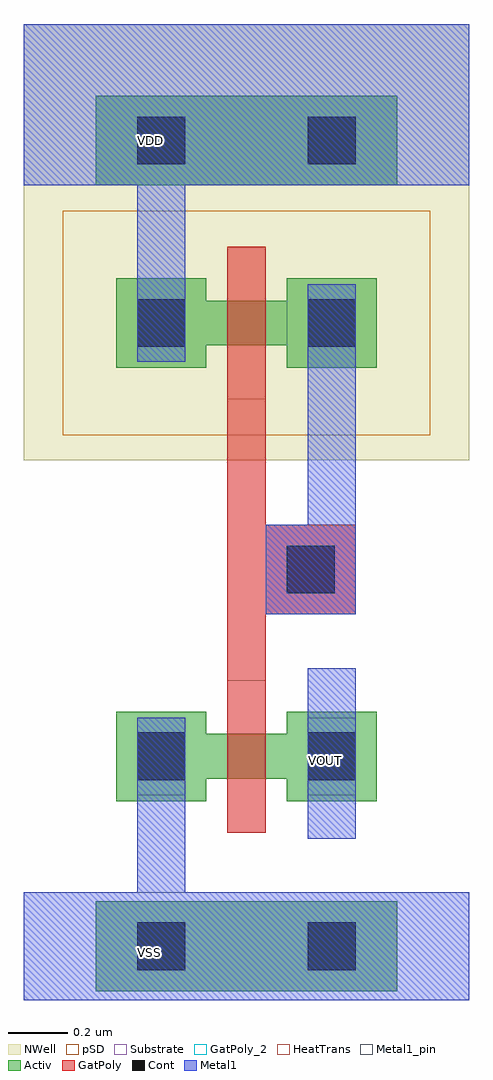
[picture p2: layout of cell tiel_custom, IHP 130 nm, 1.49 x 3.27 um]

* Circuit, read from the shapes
.subckt tiel_custom VDD VOUT VSS
XM1 VOUT n1 VSS VSS sg13_lv_nmos w=0.15u l=0.13u
XM2 n1 n1 VDD VDD sg13_lv_pmos w=0.15u l=0.13u
.ends

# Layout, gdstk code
import gdstk
lib = gdstk.Library(unit=1e-6, precision=5e-09)
def R(c, l, rs):  # rectangles x0, y0, x1, y1
    for r in rs: c.add(gdstk.rectangle(r[:2], r[2:], *l))
Activ = (1, 0)
GatPoly = (5, 0)
GatPoly_2 = (5, 2)
Cont = (6, 0)
Metal1 = (8, 0)
Metal1_pin = (8, 2)
pSD = (14, 0)
NWell = (31, 0)
Substrate = (40, 0)
HeatTrans = (51, 0)

nmos_4 = lib.new_cell('nmos$4')
R(nmos_4, Activ, [(0,0,0.3,0.3), (0.57,0,0.87,0.3), (0,0.075,0.87,0.225)])
R(nmos_4, GatPoly, [(0.37,-0.105,0.5,0.405)])
R(nmos_4, GatPoly_2, [(0.37,-0.105,0.5,0.405)])
R(nmos_4, Cont, [(0.07,0.07,0.23,0.23), (0.64,0.07,0.8,0.23)])
R(nmos_4, Metal1, [(0.07,0.02,0.23,0.28), (0.64,0.02,0.8,0.28)])
R(nmos_4, Metal1_pin, [(0.07,0.02,0.23,0.28), (0.64,0.02,0.8,0.28)])
R(nmos_4, HeatTrans, [(0.37,-0.105,0.5,0.405)])
nmos_4.add(gdstk.Label('nmos', (0.435,0.15), layer=63, texttype=0))
nmos_4.add(gdstk.Label('nmos', (0.435,0.15), layer=51, texttype=0))

nmos_8 = lib.new_cell('nmos$8')
R(nmos_8, Activ, [(0,0,0.3,0.3), (0.57,0,0.87,0.3), (0,0.075,0.87,0.225)])
R(nmos_8, GatPoly, [(0.37,-0.105,0.5,0.405)])
R(nmos_8, GatPoly_2, [(0.37,-0.105,0.5,0.405)])
R(nmos_8, Cont, [(0.07,0.07,0.23,0.23), (0.64,0.07,0.8,0.23)])
R(nmos_8, Metal1, [(0.07,0.02,0.23,0.28), (0.64,0.02,0.8,0.28)])
R(nmos_8, Metal1_pin, [(0.07,0.02,0.23,0.28), (0.64,0.02,0.8,0.28)])
R(nmos_8, HeatTrans, [(0.37,-0.105,0.5,0.405)])
nmos_8.add(gdstk.Label('nmos', (0.435,0.15), layer=63, texttype=0))
nmos_8.add(gdstk.Label('nmos', (0.435,0.15), layer=51, texttype=0))

nmos_4_4 = lib.new_cell('nmos$4$4')
R(nmos_4_4, Activ, [(0,0,0.3,0.3), (0.57,0,0.87,0.3), (0,0.075,0.87,0.225)])
R(nmos_4_4, GatPoly, [(0.37,-0.105,0.5,0.405)])
R(nmos_4_4, GatPoly_2, [(0.37,-0.105,0.5,0.405)])
R(nmos_4_4, Cont, [(0.07,0.07,0.23,0.23), (0.64,0.07,0.8,0.23)])
R(nmos_4_4, Metal1, [(0.07,0.02,0.23,0.28), (0.64,0.02,0.8,0.28)])
R(nmos_4_4, Metal1_pin, [(0.07,0.02,0.23,0.28), (0.64,0.02,0.8,0.28)])
R(nmos_4_4, HeatTrans, [(0.37,-0.105,0.5,0.405)])
nmos_4_4.add(gdstk.Label('nmos', (0.435,0.15), layer=63, texttype=0))
nmos_4_4.add(gdstk.Label('nmos', (0.435,0.15), layer=51, texttype=0))

nmos_8_2 = lib.new_cell('nmos$8$2')
R(nmos_8_2, Activ, [(0,0,0.3,0.3), (0.57,0,0.87,0.3), (0,0.075,0.87,0.225)])
R(nmos_8_2, GatPoly, [(0.37,-0.105,0.5,0.405)])
R(nmos_8_2, GatPoly_2, [(0.37,-0.105,0.5,0.405)])
R(nmos_8_2, Cont, [(0.07,0.07,0.23,0.23), (0.64,0.07,0.8,0.23)])
R(nmos_8_2, Metal1, [(0.07,0.02,0.23,0.28), (0.64,0.02,0.8,0.28)])
R(nmos_8_2, Metal1_pin, [(0.07,0.02,0.23,0.28), (0.64,0.02,0.8,0.28)])
R(nmos_8_2, HeatTrans, [(0.37,-0.105,0.5,0.405)])
nmos_8_2.add(gdstk.Label('nmos', (0.435,0.15), layer=63, texttype=0))
nmos_8_2.add(gdstk.Label('nmos', (0.435,0.15), layer=51, texttype=0))

nmos_18 = lib.new_cell('nmos$18')
R(nmos_18, Activ, [(0,0,0.3,0.3), (0.57,0,0.87,0.3), (0,0.075,0.87,0.225)])
R(nmos_18, GatPoly, [(0.37,-0.105,0.5,0.405)])
R(nmos_18, GatPoly_2, [(0.37,-0.105,0.5,0.405)])
R(nmos_18, Cont, [(0.07,0.07,0.23,0.23), (0.64,0.07,0.8,0.23)])
R(nmos_18, Metal1, [(0.07,0.02,0.23,0.28), (0.64,0.02,0.8,0.28)])
R(nmos_18, Metal1_pin, [(0.07,0.02,0.23,0.28), (0.64,0.02,0.8,0.28)])
R(nmos_18, HeatTrans, [(0.37,-0.105,0.5,0.405)])
nmos_18.add(gdstk.Label('nmos', (0.435,0.15), layer=63, texttype=0))
nmos_18.add(gdstk.Label('nmos', (0.435,0.15), layer=51, texttype=0))

pmos_3 = lib.new_cell('pmos$3')
R(pmos_3, Activ, [(0,0,0.3,0.3), (0.57,0,0.87,0.3), (0,0.075,0.87,0.225)])
R(pmos_3, GatPoly, [(0.37,-0.105,0.5,0.405), (0.37,-0.105,0.5,0.405)])
R(pmos_3, Cont, [(0.07,0.07,0.23,0.23), (0.64,0.07,0.8,0.23)])
R(pmos_3, Metal1, [(0.07,0.02,0.23,0.28), (0.07,0.02,0.23,0.28), (0.64,0.02,0.8,0.28), (0.64,0.02,0.8,0.28)])
R(pmos_3, pSD, [(-0.18,-0.225,1.05,0.525)])
R(pmos_3, NWell, [(-0.31,-0.31,1.18,0.61)])
R(pmos_3, Substrate, [(0.57,0,0.87,0.3)])
R(pmos_3, HeatTrans, [(0.37,-0.105,0.5,0.405)])
pmos_3.add(gdstk.Label('pmos', (0.435,0.15), layer=63, texttype=0))
pmos_3.add(gdstk.Label('pmos', (0.435,0.15), layer=51, texttype=0))

pmos_6 = lib.new_cell('pmos$6')
R(pmos_6, Activ, [(0,0,0.3,0.3), (0.57,0,0.87,0.3), (0,0.075,0.87,0.225)])
R(pmos_6, GatPoly, [(0.37,-0.105,0.5,0.405), (0.37,-0.105,0.5,0.405)])
R(pmos_6, Cont, [(0.07,0.07,0.23,0.23), (0.64,0.07,0.8,0.23)])
R(pmos_6, Metal1, [(0.07,0.02,0.23,0.28), (0.07,0.02,0.23,0.28), (0.64,0.02,0.8,0.28), (0.64,0.02,0.8,0.28)])
R(pmos_6, pSD, [(-0.18,-0.225,1.05,0.525)])
R(pmos_6, NWell, [(-0.31,-0.31,1.18,0.61)])
R(pmos_6, Substrate, [(0.57,0,0.87,0.3)])
R(pmos_6, HeatTrans, [(0.37,-0.105,0.5,0.405)])
pmos_6.add(gdstk.Label('pmos', (0.435,0.15), layer=63, texttype=0))
pmos_6.add(gdstk.Label('pmos', (0.435,0.15), layer=51, texttype=0))

pmos_3_1 = lib.new_cell('pmos$3$1')
R(pmos_3_1, Activ, [(0,0,0.3,0.3), (0.57,0,0.87,0.3), (0,0.075,0.87,0.225)])
R(pmos_3_1, GatPoly, [(0.37,-0.105,0.5,0.405), (0.37,-0.105,0.5,0.405)])
R(pmos_3_1, Cont, [(0.07,0.07,0.23,0.23), (0.64,0.07,0.8,0.23)])
R(pmos_3_1, Metal1, [(0.07,0.02,0.23,0.28), (0.07,0.02,0.23,0.28), (0.64,0.02,0.8,0.28), (0.64,0.02,0.8,0.28)])
R(pmos_3_1, pSD, [(-0.18,-0.225,1.05,0.525)])
R(pmos_3_1, NWell, [(-0.31,-0.31,1.18,0.61)])
R(pmos_3_1, Substrate, [(0.57,0,0.87,0.3)])
R(pmos_3_1, HeatTrans, [(0.37,-0.105,0.5,0.405)])
pmos_3_1.add(gdstk.Label('pmos', (0.435,0.15), layer=63, texttype=0))
pmos_3_1.add(gdstk.Label('pmos', (0.435,0.15), layer=51, texttype=0))

pmos_6_1 = lib.new_cell('pmos$6$1')
R(pmos_6_1, Activ, [(0,0,0.3,0.3), (0.57,0,0.87,0.3), (0,0.075,0.87,0.225)])
R(pmos_6_1, GatPoly, [(0.37,-0.105,0.5,0.405), (0.37,-0.105,0.5,0.405)])
R(pmos_6_1, Cont, [(0.07,0.07,0.23,0.23), (0.64,0.07,0.8,0.23)])
R(pmos_6_1, Metal1, [(0.07,0.02,0.23,0.28), (0.07,0.02,0.23,0.28), (0.64,0.02,0.8,0.28), (0.64,0.02,0.8,0.28)])
R(pmos_6_1, pSD, [(-0.18,-0.225,1.05,0.525)])
R(pmos_6_1, NWell, [(-0.31,-0.31,1.18,0.61)])
R(pmos_6_1, Substrate, [(0.57,0,0.87,0.3)])
R(pmos_6_1, HeatTrans, [(0.37,-0.105,0.5,0.405)])
pmos_6_1.add(gdstk.Label('pmos', (0.435,0.15), layer=63, texttype=0))
pmos_6_1.add(gdstk.Label('pmos', (0.435,0.15), layer=51, texttype=0))

pmos_10 = lib.new_cell('pmos$10')
R(pmos_10, Activ, [(0,0,0.3,0.3), (0.57,0,0.87,0.3), (0,0.075,0.87,0.225)])
R(pmos_10, GatPoly, [(0.37,-0.105,0.5,0.405), (0.37,-0.105,0.5,0.405)])
R(pmos_10, Cont, [(0.07,0.07,0.23,0.23), (0.64,0.07,0.8,0.23)])
R(pmos_10, Metal1, [(0.07,0.02,0.23,0.28), (0.07,0.02,0.23,0.28), (0.64,0.02,0.8,0.28), (0.64,0.02,0.8,0.28)])
R(pmos_10, pSD, [(-0.18,-0.225,1.05,0.525)])
R(pmos_10, NWell, [(-0.31,-0.31,1.18,0.61)])
R(pmos_10, Substrate, [(0.57,0,0.87,0.3)])
R(pmos_10, HeatTrans, [(0.37,-0.105,0.5,0.405)])
pmos_10.add(gdstk.Label('pmos', (0.435,0.15), layer=63, texttype=0))
pmos_10.add(gdstk.Label('pmos', (0.435,0.15), layer=51, texttype=0))

tiel_custom = lib.new_cell('tiel_custom')
R(tiel_custom, Activ, [(1.81,0.96,2.82,1.26), (1.81,0.96,2.82,1.26), (1.81,0.96,2.82,1.26), (1.81,0.96,2.82,1.26), (1.81,0.96,2.82,1.26), (1.81,3.655,2.82,3.955), (1.81,3.655,2.82,3.955), (1.81,3.655,2.82,3.955), (1.81,3.655,2.82,3.955), (1.81,3.655,2.82,3.955)])
R(tiel_custom, GatPoly, [(2.25,1.49,2.38,3.45), (2.25,1.49,2.38,3.45), (2.25,1.49,2.38,3.45), (2.25,1.49,2.38,3.45), (2.25,1.49,2.38,3.45), (2.38,2.22,2.68,2.52), (2.38,2.22,2.68,2.52), (2.38,2.22,2.68,2.52), (2.38,2.22,2.68,2.52), (2.38,2.22,2.68,2.52)])
R(tiel_custom, Cont, [(1.95,1.03,2.11,1.19), (1.95,1.03,2.11,1.19), (1.95,1.03,2.11,1.19), (1.95,1.03,2.11,1.19), (1.95,1.03,2.11,1.19), (2.52,1.03,2.68,1.19), (2.52,1.03,2.68,1.19), (2.52,1.03,2.68,1.19), (2.52,1.03,2.68,1.19), (2.52,1.03,2.68,1.19), (2.45,2.29,2.61,2.45), (2.45,2.29,2.61,2.45), (2.45,2.29,2.61,2.45), (2.45,2.29,2.61,2.45), (2.45,2.29,2.61,2.45), (1.95,3.725,2.11,3.885), (1.95,3.725,2.11,3.885), (1.95,3.725,2.11,3.885), (1.95,3.725,2.11,3.885), (1.95,3.725,2.11,3.885), (2.52,3.725,2.68,3.885), (2.52,3.725,2.68,3.885), (2.52,3.725,2.68,3.885), (2.52,3.725,2.68,3.885), (2.52,3.725,2.68,3.885)])
R(tiel_custom, Metal1, [(1.57,0.93,3.06,1.29), (1.57,0.93,3.06,1.29), (1.57,0.93,3.06,1.29), (1.57,0.93,3.06,1.29), (1.57,0.93,3.06,1.29), (1.95,1.03,2.11,1.875), (1.95,1.03,2.11,1.875), (1.95,1.03,2.11,1.875), (1.95,1.03,2.11,1.875), (1.95,1.03,2.11,1.875), (2.52,1.47,2.68,2.04), (2.52,1.47,2.68,2.04), (2.38,2.22,2.68,2.52), (2.38,2.22,2.68,2.52), (2.38,2.22,2.68,2.52), (2.38,2.22,2.68,2.52), (2.38,2.22,2.68,2.52), (2.45,2.29,2.68,2.45), (2.45,2.29,2.68,2.45), (2.45,2.29,2.68,2.45), (2.45,2.29,2.68,2.45), (2.45,2.29,2.68,2.45), (2.52,2.29,2.68,3.325), (2.52,2.29,2.68,3.325), (2.52,2.29,2.68,3.325), (2.52,2.29,2.68,3.325), (2.52,2.29,2.68,3.325), (1.95,3.065,2.11,3.955), (1.95,3.065,2.11,3.955), (1.95,3.065,2.11,3.955), (1.95,3.065,2.11,3.955), (1.95,3.065,2.11,3.955), (1.57,3.655,3.06,4.195), (1.57,3.655,3.06,4.195), (1.57,3.655,3.06,4.195), (1.57,3.655,3.06,4.195), (1.57,3.655,3.06,4.195)])
R(tiel_custom, Metal1_pin, [(1.57,0.93,3.06,1.29), (1.57,0.93,3.06,1.29), (1.57,0.93,3.06,1.29), (1.57,0.93,3.06,1.29), (1.57,0.93,3.06,1.29), (2.38,2.22,2.68,2.52), (2.38,2.22,2.68,2.52), (2.38,2.22,2.68,2.52), (2.38,2.22,2.68,2.52), (2.38,2.22,2.68,2.52), (2.52,2.29,2.68,3.325), (2.52,2.29,2.68,3.325), (2.52,2.29,2.68,3.325), (2.52,2.29,2.68,3.325), (2.52,2.29,2.68,3.325), (1.57,3.655,3.06,4.195), (1.57,3.655,3.06,4.195), (1.57,3.655,3.06,4.195), (1.57,3.655,3.06,4.195), (1.57,3.655,3.06,4.195)])
R(tiel_custom, pSD, [(1.57,0.93,3.06,1.29), (1.57,0.93,3.06,1.29), (1.57,0.93,3.06,1.29), (1.57,0.93,3.06,1.29), (1.57,0.93,3.06,1.29)])
R(tiel_custom, NWell, [(1.57,3.655,3.06,4.195), (1.57,3.655,3.06,4.195), (1.57,3.655,3.06,4.195), (1.57,3.655,3.06,4.195), (1.57,3.655,3.06,4.195)])
tiel_custom.add(gdstk.Reference(nmos_4, (1.88,1.595)))
tiel_custom.add(gdstk.Reference(nmos_8, (1.88,1.595)))
tiel_custom.add(gdstk.Reference(nmos_4_4, (1.88,1.595)))
tiel_custom.add(gdstk.Reference(nmos_8_2, (1.88,1.595)))
tiel_custom.add(gdstk.Reference(nmos_18, (1.88,1.595)))
tiel_custom.add(gdstk.Reference(pmos_3, (1.88,3.045)))
tiel_custom.add(gdstk.Reference(pmos_6, (1.88,3.045)))
tiel_custom.add(gdstk.Reference(pmos_3_1, (1.88,3.045)))
tiel_custom.add(gdstk.Reference(pmos_6_1, (1.88,3.045)))
tiel_custom.add(gdstk.Reference(pmos_10, (1.88,3.045)))
tiel_custom.add(gdstk.Label('VOUT', (2.58,1.73), layer=8, texttype=25))
tiel_custom.add(gdstk.Label('VSS', (1.99,1.09), layer=8, texttype=25))
tiel_custom.add(gdstk.Label('VDD', (1.995,3.805), layer=8, texttype=25))
tiel_custom.add(gdstk.Label('VOUT', (2.58,1.73), layer=8, texttype=25))
tiel_custom.add(gdstk.Label('VSS', (1.99,1.09), layer=8, texttype=25))
tiel_custom.add(gdstk.Label('VDD', (1.995,3.805), layer=8, texttype=25))
tiel_custom.add(gdstk.Label('VOUT', (2.58,1.73), layer=8, texttype=25))
tiel_custom.add(gdstk.Label('VSS', (1.99,1.09), layer=8, texttype=25))
tiel_custom.add(gdstk.Label('VDD', (1.995,3.805), layer=8, texttype=25))
tiel_custom.add(gdstk.Label('VOUT', (2.58,1.73), layer=8, texttype=25))
tiel_custom.add(gdstk.Label('VSS', (1.99,1.09), layer=8, texttype=25))
tiel_custom.add(gdstk.Label('VDD', (1.995,3.805), layer=8, texttype=25))
tiel_custom.add(gdstk.Label('VOUT', (2.58,1.73), layer=8, texttype=25))
tiel_custom.add(gdstk.Label('VSS', (1.99,1.09), layer=8, texttype=25))
tiel_custom.add(gdstk.Label('VDD', (1.995,3.805), layer=8, texttype=25))

lib.write_gds('tiel_custom.gds')
